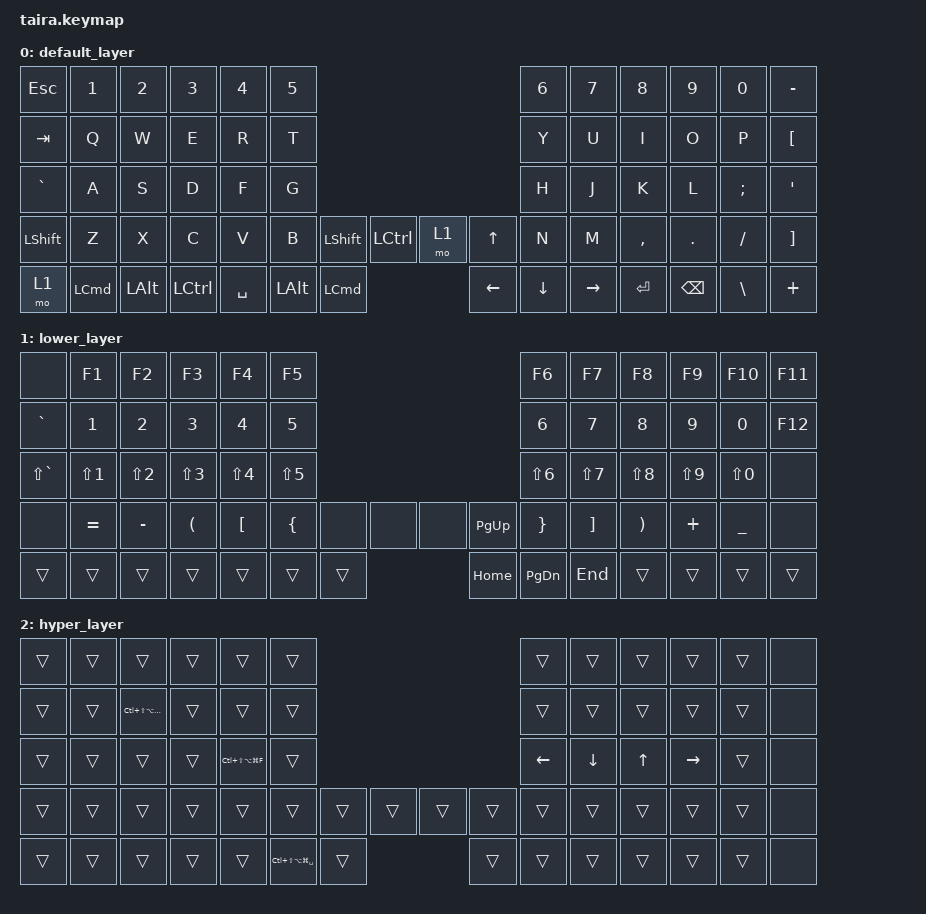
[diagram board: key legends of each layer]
/*
 * Copyright (c) 2020 The ZMK Contributors
 *
 * SPDX-License-Identifier: MIT
 */

#include <behaviors.dtsi>
#include <dt-bindings/zmk/keys.h>

#define DEFAULT 0
#define LOWER   1
#define RAISE   2
#define ADJUST  3
#define HYPER   4
#define GAME    5

/ {
    conditional_layers {
        compatible = "zmk,conditional-layers";

        tri_layer {
            if-layers = <1 2>;
            then-layer = <2>;
        };
    };

    keymap {
        compatible = "zmk,keymap";

        default_layer {
            /* QWERTY
 * .----------------------------------------------------------------------------------------------------------------------------------.
 * |  `   |   1  |   2  |   3  |   4  |   5  |                                              |   6  |   7  |   8  |   9  |   0  | PScr |
 * |-------------+------+------+------+------+------+------+-------+-+-------+-------+------+------+------+------+------+------+------|
 * | ESC  |   Q  |   W  |   E  |   R  |   T  |                                              |   Y  |   U  |   I  |   O  |   P  |  \   |
 * |-------------+------+------+------+------+------+------+-------+-+-------+-------+------+------+------+------+------+------+------|
 * | Tab  |   A  |   S  |   D  |   F  |   G  |                                              |   H  |   J  |   K  |   L  |   ;  |  '   |
 * |-------------+------+------+------+------+------+------+-------+-+-------+-------+------+------+------+------+------+------+------|
 * | Shift|   Z  |   X  |   C  |   V  |   B  |      | Del  | PGDN  | | PGUP  | Home  |      |   N  |   M  |   ,  |   .  |   /  | Shift|
 * |-------------+------+------+------+------+------+------+-------+-+-------+-------+------+------+------+------+------+------+------|
 * | Ctrl | Alt  | Meta | Alt  |             | Meta | Space| Lower | | Raise | Enter | RAlt |             | LEFT | DOWN | UP   | RIGHT|
 * .----------------------------------------------------------------------------------------------------------------------------------.
 */

            bindings = <
&kp ESC    &kp N1            &kp N2        &kp N3            &kp N4  &kp N5                                                                              &kp N6  &kp N7  &kp N8     &kp N9         &kp N0     &kp MINUS
&kp TAB    &kp Q             &kp W         &kp E             &kp R   &kp T                                                                               &kp Y   &kp U   &kp I      &kp O          &kp P      &kp LBKT
&kp GRAVE  &kp A             &kp S         &kp D             &kp F   &kp G                                                                               &kp H   &kp J   &kp K      &kp L          &kp SEMI   &kp SQT
&kp LSHFT  &kp Z             &kp X         &kp C             &kp V   &kp B              &kp LEFT_SHIFT  &kp LEFT_CONTROL  &mo 1     &kp UP               &kp N   &kp M   &kp COMMA  &kp DOT        &kp SLASH  &kp RIGHT_BRACKET
&mo 1      &kp LEFT_COMMAND  &kp LEFT_ALT  &kp LEFT_CONTROL                  &kp SPACE  &kp LEFT_ALT    &kp LEFT_COMMAND  &kp LEFT  &kp DOWN  &kp RIGHT                  &kp ENTER  &kp BACKSPACE  &kp BSLH   &kp PLUS
            >;
        };

        lower_layer {
            /* QWERTY
 * .----------------------------------------------------------------------------------------------------------------------------------.
 * |  `   |   1  |   2  |   3  |   4  |   5  |                                              |   6  |   7  |   8  |   9  |   0  | PScr |
 * |-------------+------+------+------+------+------+------+-------+-+-------+-------+------+------+------+------+------+------+------|
 * | ESC  |   Q  |   W  |   E  |   R  |   T  |                                              |   Y  |   U  |   I  |   O  |   P  |  \   |
 * |-------------+------+------+------+------+------+------+-------+-+-------+-------+------+------+------+------+------+------+------|
 * | Tab  |   A  |   S  |   D  |   F  |   G  |                                              |   H  |   J  |   K  |   L  |   ;  |  '   |
 * |-------------+------+------+------+------+------+------+-------+-+-------+-------+------+------+------+------+------+------+------|
 * | Shift|   Z  |   X  |   C  |   V  |   B  |      | Del  | PGDN  | | PGUP  | Home  |      |   N  |   M  |   ,  |   .  |   /  | Shift|
 * |-------------+------+------+------+------+------+------+-------+-+-------+-------+------+------+------+------+------+------+------|
 * | Ctrl | Alt  | Meta | Alt  |             | Meta | Space| Lower | | Raise | Enter | RAlt |             | LEFT | DOWN | UP   | RIGHT|
 * .----------------------------------------------------------------------------------------------------------------------------------.
 */

            bindings = <
&none          &kp F1      &kp F2      &kp F3      &kp F4      &kp F5                                                                &kp F6      &kp F7      &kp F8      &kp F9      &kp F10     &kp F11
&kp GRAVE      &kp N1      &kp N2      &kp N3      &kp N4      &kp N5                                                                &kp N6      &kp N7      &kp N8      &kp N9      &kp N0      &kp F12
&kp LS(GRAVE)  &kp LS(N1)  &kp LS(N2)  &kp LS(N3)  &kp LS(N4)  &kp LS(N5)                                                            &kp LS(N6)  &kp LS(N7)  &kp LS(N8)  &kp LS(N9)  &kp LS(N0)  &none
&none          &kp EQUAL   &kp MINUS   &kp LPAR    &kp LBKT    &kp LBRC            &none   &none   &none     &kp PAGE_UP             &kp RBRC    &kp RBKT    &kp RPAR    &kp PLUS    &kp UNDER   &none
&trans         &trans      &trans      &trans                              &trans  &trans  &trans  &kp HOME  &kp PAGE_DOWN  &kp END                          &trans      &trans      &trans      &trans
            >;
        };

        hyper_layer {
            /* QWERTY
 * .----------------------------------------------------------------------------------------------------------------------------------.
 * |  `   |   1  |   2  |   3  |   4  |   5  |                                              |   6  |   7  |   8  |   9  |   0  | PScr |
 * |-------------+------+------+------+------+------+------+-------+-+-------+-------+------+------+------+------+------+------+------|
 * | ESC  |   Q  |   W  |   E  |   R  |   T  |                                              |   Y  |   U  |   I  |   O  |   P  |  \   |
 * |-------------+------+------+------+------+------+------+-------+-+-------+-------+------+------+------+------+------+------+------|
 * | Tab  |   A  |   S  |   D  |   F  |   G  |                                              |   H  |   J  |   K  |   L  |   ;  |  '   |
 * |-------------+------+------+------+------+------+------+-------+-+-------+-------+------+------+------+------+------+------+------|
 * | Shift|   Z  |   X  |   C  |   V  |   B  |      | Del  | PGDN  | | PGUP  | Home  |      |   N  |   M  |   ,  |   .  |   /  | Shift|
 * |-------------+------+------+------+------+------+------+-------+-+-------+-------+------+------+------+------+------+------+------|
 * | Ctrl | Alt  | Meta | Alt  |             | Meta | Space| Lower | | Raise | Enter | RAlt |             | LEFT | DOWN | UP   | RIGHT|
 * .----------------------------------------------------------------------------------------------------------------------------------.
 */

            bindings = <
&trans  &trans  &trans                 &trans  &trans                 &trans                                                                     &trans    &trans    &trans  &trans     &trans  &none
&trans  &trans  &kp LC(LS(LA(LG(W))))  &trans  &trans                 &trans                                                                     &trans    &trans    &trans  &trans     &trans  &none
&trans  &trans  &trans                 &trans  &kp LC(LS(LA(LG(F))))  &trans                                                                     &kp LEFT  &kp DOWN  &kp UP  &kp RIGHT  &trans  &none
&trans  &trans  &trans                 &trans  &trans                 &trans          &trans                     &trans  &trans  &trans          &trans    &trans    &trans  &trans     &trans  &none
&trans  &trans  &trans                 &trans                                 &trans  &kp LC(LS(LA(LG(SPACE))))  &trans  &trans  &trans  &trans                      &trans  &trans     &trans  &none
            >;
        };
    };
};
